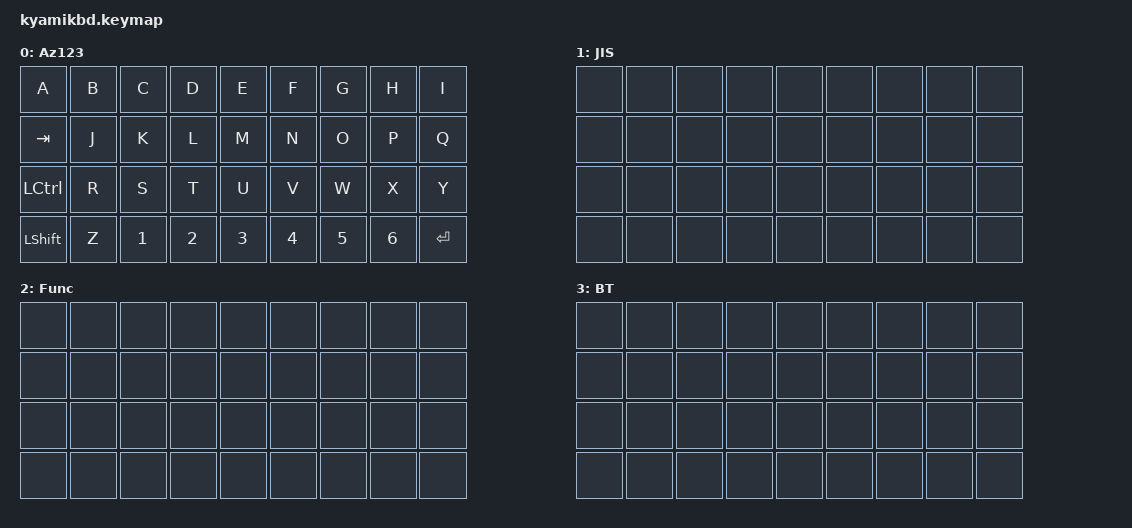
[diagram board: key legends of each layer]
#include <behaviors.dtsi>
#include <dt-bindings/zmk/keys.h>
#include <dt-bindings/zmk/pointing.h>
#include <dt-bindings/zmk/bt.h>
#include <physical_layouts.dtsi>
#include <behaviors/rgbled_widget.dtsi>

#define JIS 1
#define BT 3

&mt {
   flavor = "tap-preferred";
   quick_tap_ms = <125>;
   tapping_term_ms = <250>;
};

/ {
    chosen {
        zmk,physical-layout = &KyamiKBD_physical_layout;
    };

    KyamiKBD_physical_layout: KyamiKBD_physical_layout {
        compatible = "zmk,physical-layout";
        display-name = "KyamiKBD";
        transform = <&default_transform>;
        kscan = <&kscan0>;

        keys =
            // Row 0
            <&key_physical_attrs 100 100    0    0  0 0 0>
            , <&key_physical_attrs 100 100 100    0  0 0 0>
            , <&key_physical_attrs 100 100 200    0  0 0 0>
            , <&key_physical_attrs 100 100 300    0  0 0 0>
            , <&key_physical_attrs 100 100 400    0  0 0 0>
            , <&key_physical_attrs 100 100 500    0  0 0 0>
            , <&key_physical_attrs 100 100 600    0  0 0 0>
            , <&key_physical_attrs 100 100 700    0  0 0 0>
            , <&key_physical_attrs 100 100 800    0  0 0 0>

            // Row 1
            , <&key_physical_attrs 100 100    0 100  0 0 0>
            , <&key_physical_attrs 100 100 100 100  0 0 0>
            , <&key_physical_attrs 100 100 200 100  0 0 0>
            , <&key_physical_attrs 100 100 300 100  0 0 0>
            , <&key_physical_attrs 100 100 400 100  0 0 0>
            , <&key_physical_attrs 100 100 500 100  0 0 0>
            , <&key_physical_attrs 100 100 600 100  0 0 0>
            , <&key_physical_attrs 100 100 700 100  0 0 0>
            , <&key_physical_attrs 100 100 800 100  0 0 0>

            // Row 2
            , <&key_physical_attrs 100 100    0 200  0 0 0>
            , <&key_physical_attrs 100 100 100 200  0 0 0>
            , <&key_physical_attrs 100 100 200 200  0 0 0>
            , <&key_physical_attrs 100 100 300 200  0 0 0>
            , <&key_physical_attrs 100 100 400 200  0 0 0>
            , <&key_physical_attrs 100 100 500 200  0 0 0>
            , <&key_physical_attrs 100 100 600 200  0 0 0>
            , <&key_physical_attrs 100 100 700 200  0 0 0>
            , <&key_physical_attrs 100 100 800 200  0 0 0>

            // Row 3
            , <&key_physical_attrs 100 100    0 300  0 0 0>
            , <&key_physical_attrs 100 100 100 300  0 0 0>
            , <&key_physical_attrs 100 100 200 300  0 0 0>
            , <&key_physical_attrs 100 100 300 300  0 0 0>
            , <&key_physical_attrs 100 100 400 300  0 0 0>
            , <&key_physical_attrs 100 100 500 300  0 0 0>
            , <&key_physical_attrs 100 100 600 300  0 0 0>
            , <&key_physical_attrs 100 100 700 300  0 0 0>
            , <&key_physical_attrs 100 100 800 300  0 0 0>
        ;
    };

    macros {
        to_layer_0: to_layer_0 {
            compatible = "zmk,behavior-macro-one-param";
            #binding-cells = <1>;
            bindings = <&to 0 &macro_param_1to1 &kp MACRO_PLACEHOLDER>;
            label = "TO_LAYER_0";
        };
    };

    behaviors {
        lt_to_layer_0: lt_to_layer_0 {
            compatible = "zmk,behavior-hold-tap";
            label = "LAYER_TAP_TO_0";
            bindings = <&mo>, <&to_layer_0>;

            #binding-cells = <2>;
            tapping-term-ms = <200>;
        };
        toJIS: toJIS {
            compatible = "zmk,behavior-hold-tap";
            label = "toJIS";
            #binding-cells = <2>;
            tapping-term-ms = <200>;
            quick-tap-ms = <0>;
            bindings = <&tog>, <&kp>;
        };
        mo2: mo2 {
            compatible = "zmk,behavior-mod-morph";
            #binding-cells = <0>;
            bindings = <&kp N2>, <&kp LBKT>;
            mods = <(MOD_LSFT|MOD_RSFT)>;
        };
        mo6: mo6 {
            compatible = "zmk,behavior-mod-morph";
            #binding-cells = <0>;
            bindings = <&kp N6>, <&kp EQUAL>;
            mods = <(MOD_LSFT|MOD_RSFT)>;
        };
        mo7: mo7 {
            compatible = "zmk,behavior-mod-morph";
            #binding-cells = <0>;
            bindings = <&kp N7>, <&kp LS(N6)>;
            mods = <(MOD_LSFT|MOD_RSFT)>;
        };
        mo8: mo8 {
            compatible = "zmk,behavior-mod-morph";
            #binding-cells = <0>;
            bindings = <&kp N8>, <&kp LS(SQT)>;
            mods = <(MOD_LSFT|MOD_RSFT)>;
        };
        mo9: mo9 {
            compatible = "zmk,behavior-mod-morph";
            #binding-cells = <0>;
            bindings = <&kp N9>, <&kp LS(N8)>;
            mods = <(MOD_LSFT|MOD_RSFT)>;
        };
        mo0: mo0 {
            compatible = "zmk,behavior-mod-morph";
            #binding-cells = <0>;
            bindings = <&kp N0>, <&kp LS(N9)>;
            mods = <(MOD_LSFT|MOD_RSFT)>;
        };
        moMINUS: moMINUS {
            compatible = "zmk,behavior-mod-morph";
            #binding-cells = <0>;
            bindings = <&kp MINUS>, <&kp LS(INT_RO)>;
            mods = <(MOD_LSFT|MOD_RSFT)>;
        };
        moEQUAL: moEQUAL {
            compatible = "zmk,behavior-mod-morph";
            #binding-cells = <0>;
            bindings = <&kp LS(MINUS)>, <&kp COLON>;
            mods = <(MOD_LSFT|MOD_RSFT)>;
        };
        moLBKT: moLBKT {
            compatible = "zmk,behavior-mod-morph";
            #binding-cells = <0>;
            bindings = <&kp RBKT>, <&kp LS(RBRC)>;
            mods = <(MOD_LSFT|MOD_RSFT)>;
        };
        moRBKT: moRBKT {
            compatible = "zmk,behavior-mod-morph";
            #binding-cells = <0>;
            bindings = <&kp BSLH>, <&kp LS(BSLH)>;
            mods = <(MOD_LSFT|MOD_RSFT)>;
        };
        moSEMI: moSEMI {
            compatible = "zmk,behavior-mod-morph";
            #binding-cells = <0>;
            bindings = <&kp SEMI>, <&kp SQT>;
            mods = <(MOD_LSFT|MOD_RSFT)>;
        };
        moSQT: moSQT {
            compatible = "zmk,behavior-mod-morph";
            #binding-cells = <0>;
            bindings = <&kp LS(N7)>, <&kp LS(N2)>;
            mods = <(MOD_LSFT|MOD_RSFT)>;
        };
        moGRAVE: moGRAVE {
            compatible = "zmk,behavior-mod-morph";
            #binding-cells = <0>;
            bindings = <&kp LS(LBRC)>, <&kp LS(EQUAL)>;
            mods = <(MOD_LSFT|MOD_RSFT)>;
        };
    }; 
 
   keymap {
    compatible = "zmk,keymap";
    default_layer {
        label = "Az123";
        bindings = <
            &kp A     &kp B     &kp C     &kp D     &kp E     &kp F     &kp G     &kp H     &kp I
            &kp TAB     &kp J      &kp K      &kp L      &kp M      &kp N      &kp O      &kp P      &kp Q
            &kp LCTL    &kp R      &kp S      &kp T      &kp U      &kp V      &kp W      &kp X      &kp Y
            &kp LSHFT   &kp Z      &kp N1      &kp N2      &kp N3      &kp N4      &kp N5      &kp N6      &kp ENTER
>;
       };

        jis_layer {
           label = "JIS";
           bindings = <
            &none     &none     &none     &none     &none     &none     &none     &none     &none
            &none     &none      &none      &none      &none      &none      &none      &none      &none
            &none    &none      &none      &none      &none      &none      &none      &none      &none
            &none   &none      &none      &none      &none      &none      &none      &none      &none
>;
       };

       function_layer {
           label = "Func";
           bindings = <
            &none     &none     &none     &none     &none     &none     &none     &none     &none
            &none     &none      &none      &none      &none      &none      &none      &none      &none
            &none    &none      &none      &none      &none      &none      &none      &none      &none
            &none   &none      &none      &none      &none      &none      &none      &none      &none
>;
       };

        bt_layer {
           display-name = "BT";    
           label = "BT";
            bindings = <
            &none     &none     &none     &none     &none     &none     &none     &none     &none
            &none     &none      &none      &none      &none      &none      &none      &none      &none
            &none    &none      &none      &none      &none      &none      &none      &none      &none
            &none   &none      &none      &none      &none      &none      &none      &none      &none
>;
       };
    };
};
